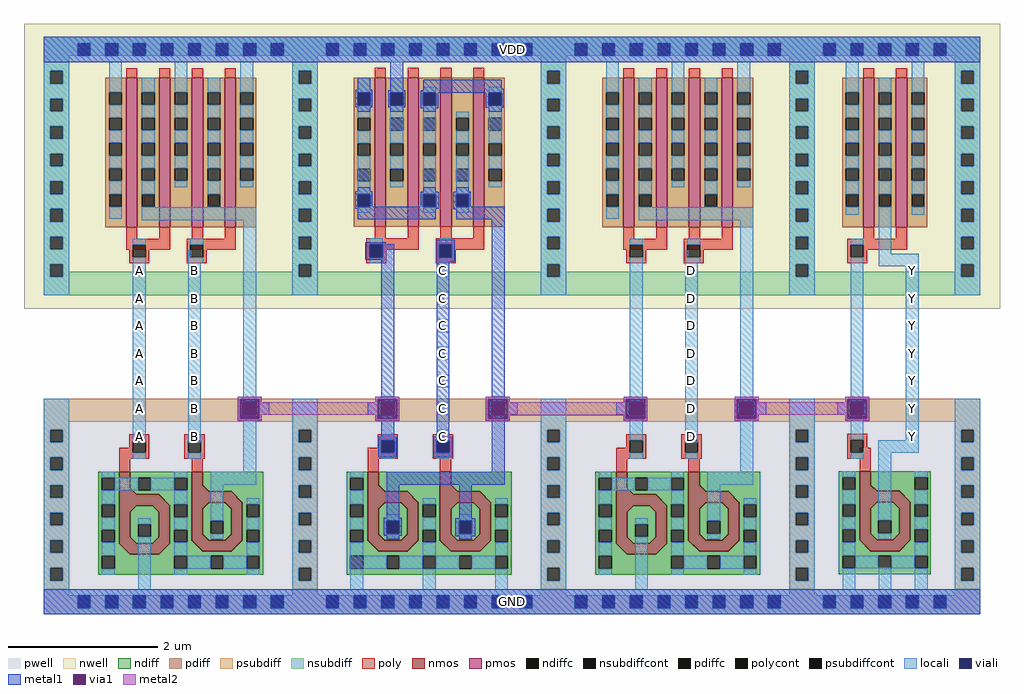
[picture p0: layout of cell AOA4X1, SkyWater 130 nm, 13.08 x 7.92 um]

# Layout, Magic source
magic
tech sky130A
magscale 1 2
<< nwell >>
rect 57 1463 91 1497
<< pwell >>
rect 57 -17 91 17
<< locali >>
rect 205 871 239 905
rect 353 871 387 905
rect 1019 871 1053 905
rect 1685 871 1719 905
rect 2277 871 2311 905
rect 205 797 239 831
rect 353 797 387 831
rect 1019 797 1053 831
rect 1685 797 1719 831
rect 2277 797 2311 831
rect 205 723 239 757
rect 353 723 387 757
rect 1019 723 1053 757
rect 1685 723 1719 757
rect 2277 723 2311 757
rect 205 649 239 683
rect 353 649 387 683
rect 1019 649 1053 683
rect 1685 649 1719 683
rect 2277 649 2311 683
rect 205 575 239 609
rect 353 575 387 609
rect 1019 575 1053 609
rect 1685 575 1719 609
rect 2277 575 2311 609
rect 205 501 239 535
rect 353 501 387 535
rect 1019 501 1053 535
rect 1685 501 1719 535
rect 2277 501 2311 535
rect 205 427 239 461
rect 353 427 387 461
rect 1019 427 1053 461
rect 1685 427 1719 461
rect 2277 427 2311 461
<< metal1 >>
rect -34 1446 2476 1514
rect -34 -34 2476 34
use aoa4x1_pcell  aoa4x1_pcell_0 pcells
transform 1 0 0 0 1 0
box -87 -34 2529 1550
<< labels >>
rlabel locali 2277 575 2311 609 1 Y
port 1 nsew signal output
rlabel locali 2277 501 2311 535 1 Y
port 1 nsew signal output
rlabel locali 2277 427 2311 461 1 Y
port 1 nsew signal output
rlabel locali 2277 649 2311 683 1 Y
port 1 nsew signal output
rlabel locali 2277 723 2311 757 1 Y
port 1 nsew signal output
rlabel locali 2277 797 2311 831 1 Y
port 1 nsew signal output
rlabel locali 2277 871 2311 905 1 Y
port 1 nsew signal output
rlabel locali 205 575 239 609 1 A
port 2 nsew signal input
rlabel locali 205 501 239 535 1 A
port 2 nsew signal input
rlabel locali 205 427 239 461 1 A
port 2 nsew signal input
rlabel locali 205 649 239 683 1 A
port 2 nsew signal input
rlabel locali 205 723 239 757 1 A
port 2 nsew signal input
rlabel locali 205 797 239 831 1 A
port 2 nsew signal input
rlabel locali 205 871 239 905 1 A
port 2 nsew signal input
rlabel locali 353 649 387 683 1 B
port 3 nsew signal input
rlabel locali 353 723 387 757 1 B
port 3 nsew signal input
rlabel locali 353 871 387 905 1 B
port 3 nsew signal input
rlabel locali 353 797 387 831 1 B
port 3 nsew signal input
rlabel locali 353 575 387 609 1 B
port 3 nsew signal input
rlabel locali 353 501 387 535 1 B
port 3 nsew signal input
rlabel locali 353 427 387 461 1 B
port 3 nsew signal input
rlabel locali 1019 723 1053 757 1 C
port 4 nsew signal input
rlabel locali 1019 797 1053 831 1 C
port 4 nsew signal input
rlabel locali 1019 871 1053 905 1 C
port 4 nsew signal input
rlabel locali 1019 649 1053 683 1 C
port 4 nsew signal input
rlabel locali 1019 575 1053 609 1 C
port 4 nsew signal input
rlabel locali 1019 501 1053 535 1 C
port 4 nsew signal input
rlabel locali 1019 427 1053 461 1 C
port 4 nsew signal input
rlabel locali 1685 797 1719 831 1 D
port 5 nsew signal input
rlabel locali 1685 723 1719 757 1 D
port 5 nsew signal input
rlabel locali 1685 649 1719 683 1 D
port 5 nsew signal input
rlabel locali 1685 575 1719 609 1 D
port 5 nsew signal input
rlabel locali 1685 501 1719 535 1 D
port 5 nsew signal input
rlabel locali 1685 427 1719 461 1 D
port 5 nsew signal input
rlabel locali 1685 871 1719 905 1 D
port 5 nsew signal input
rlabel metal1 -34 1446 2476 1514 1 VDD
port 6 nsew power bidirectional abutment
rlabel metal1 -34 -34 2476 34 1 GND
port 7 nsew ground bidirectional abutment


<< properties >>
string LEFclass CORE
string LEFsite unitrh
string FIXED_BBOX 0 0 2442 1480
string LEFsymmetry X Y R90
<< end >>

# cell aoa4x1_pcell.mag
magic
tech sky130A
magscale 1 2
<< metal1 >>
rect 1818 543 1882 549
rect 1818 491 1824 543
rect 1876 491 1882 543
rect 1818 485 1882 491
rect 2114 543 2178 549
rect 2114 491 2120 543
rect 2172 491 2178 543
rect 2114 485 2178 491
<< via1 >>
rect 1824 491 1876 543
rect 2120 491 2172 543
<< metal2 >>
rect 1818 543 1882 549
rect 1818 491 1824 543
rect 1876 535 1882 543
rect 2114 543 2178 549
rect 2114 535 2120 543
rect 1876 501 2120 535
rect 1876 491 1882 501
rect 1818 485 1882 491
rect 2114 491 2120 501
rect 2172 491 2178 543
rect 2114 485 2178 491
use aoai4x1_pcell  aoai4x1_pcell_0
transform 1 0 0 0 1 0
box -87 -34 2085 1550
use invx1_pcell  invx1_pcell_0
transform 1 0 1998 0 1 0
box -87 -34 531 1550
use li1_M1_contact  li1_M1_contact_2
transform -1 0 1850 0 -1 518
box -53 -33 29 33
use li1_M1_contact  li1_M1_contact_3
transform 1 0 2146 0 1 518
box -53 -33 29 33
<< end >>

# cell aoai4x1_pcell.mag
magic
tech sky130A
magscale 1 2
<< metal1 >>
rect 486 543 550 549
rect 486 491 492 543
rect 544 491 550 543
rect 486 485 550 491
rect 855 543 919 549
rect 855 491 861 543
rect 913 491 919 543
rect 855 485 919 491
rect 1151 543 1215 549
rect 1151 491 1157 543
rect 1209 491 1215 543
rect 1151 485 1215 491
rect 1520 543 1584 549
rect 1520 491 1526 543
rect 1578 491 1584 543
rect 1520 485 1584 491
<< via1 >>
rect 492 491 544 543
rect 861 491 913 543
rect 1157 491 1209 543
rect 1526 491 1578 543
<< metal2 >>
rect 486 543 550 549
rect 486 491 492 543
rect 544 535 550 543
rect 855 543 919 549
rect 855 535 861 543
rect 544 501 861 535
rect 544 491 550 501
rect 486 485 550 491
rect 855 491 861 501
rect 913 491 919 543
rect 855 485 919 491
rect 1151 543 1215 549
rect 1151 491 1157 543
rect 1209 535 1215 543
rect 1520 543 1584 549
rect 1520 535 1526 543
rect 1209 500 1526 535
rect 1209 491 1215 500
rect 1151 485 1215 491
rect 1520 491 1526 500
rect 1578 491 1584 543
rect 1520 485 1584 491
use li1_M1_contact  li1_M1_contact_0
transform -1 0 518 0 -1 518
box -53 -33 29 33
use li1_M1_contact  li1_M1_contact_1
transform 1 0 888 0 1 518
box -53 -33 29 33
use li1_M1_contact  li1_M1_contact_2
transform -1 0 1184 0 -1 518
box -53 -33 29 33
use li1_M1_contact  li1_M1_contact_3
transform 1 0 1554 0 1 518
box -53 -33 29 33
use nand2x1_pcell  nand2x1_pcell_0
transform 1 0 0 0 1 0
box -87 -34 753 1550
use nand2x1_pcell  nand2x1_pcell_1
transform 1 0 1332 0 1 0
box -87 -34 753 1550
use nor2x1_pcell  nor2x1_pcell_0
transform 1 0 666 0 1 0
box -87 -34 753 1550
<< end >>

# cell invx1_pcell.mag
magic
tech sky130A
magscale 1 2
<< nwell >>
rect -87 786 531 1550
<< pwell >>
rect -34 -34 478 544
<< pdiffc >>
rect 118 1059 152 1093
rect 206 1059 240 1093
rect 294 1059 328 1093
<< psubdiff >>
rect 34 482 410 544
rect 34 -17 57 17
rect 91 -17 131 17
rect 165 -17 205 17
rect 239 -17 279 17
rect 313 -17 353 17
rect 387 -17 410 17
rect 34 -34 410 -17
<< nsubdiff >>
rect 34 1497 410 1514
rect 34 1463 57 1497
rect 91 1463 131 1497
rect 165 1463 205 1497
rect 239 1463 279 1497
rect 313 1463 353 1497
rect 387 1463 410 1497
rect 34 822 410 884
<< psubdiffcont >>
rect 57 -17 91 17
rect 131 -17 165 17
rect 205 -17 239 17
rect 279 -17 313 17
rect 353 -17 387 17
<< nsubdiffcont >>
rect 57 1463 91 1497
rect 131 1463 165 1497
rect 205 1463 239 1497
rect 279 1463 313 1497
rect 353 1463 387 1497
<< poly >>
rect 155 381 185 413
<< locali >>
rect 34 1497 410 1514
rect 34 1463 57 1497
rect 91 1463 131 1497
rect 165 1463 205 1497
rect 239 1463 279 1497
rect 313 1463 353 1497
rect 387 1463 410 1497
rect 34 1446 410 1463
rect 118 1093 152 1111
rect 118 1037 152 1059
rect 206 1093 240 1111
rect 206 933 240 1059
rect 294 1093 328 1111
rect 294 1037 328 1059
rect 131 449 165 908
rect 206 899 313 933
rect 279 433 313 899
rect 205 399 313 433
rect 205 233 239 399
rect 109 34 143 90
rect 206 34 240 91
rect 303 34 337 90
rect 34 17 410 34
rect 34 -17 57 17
rect 91 -17 131 17
rect 165 -17 205 17
rect 239 -17 279 17
rect 313 -17 353 17
rect 387 -17 410 17
rect 34 -34 410 -17
<< viali >>
rect 57 1463 91 1497
rect 131 1463 165 1497
rect 205 1463 239 1497
rect 279 1463 313 1497
rect 353 1463 387 1497
rect 57 -17 91 17
rect 131 -17 165 17
rect 205 -17 239 17
rect 279 -17 313 17
rect 353 -17 387 17
<< metal1 >>
rect 34 1497 410 1514
rect 34 1463 57 1497
rect 91 1463 131 1497
rect 165 1463 205 1497
rect 239 1463 279 1497
rect 313 1463 353 1497
rect 387 1463 410 1497
rect 34 1446 410 1463
rect 34 17 410 34
rect 34 -17 57 17
rect 91 -17 131 17
rect 165 -17 205 17
rect 239 -17 279 17
rect 313 -17 353 17
rect 387 -17 410 17
rect 34 -34 410 -17
use poly_li1_contact  poly_li1_contact_1
transform 0 -1 147 1 0 416
box -32 -28 34 26
use nmos_top  nmos_top_0
transform -1 0 345 0 1 74
box 0 0 246 308
use pmos2  pmos2_0
transform 1 0 20 0 1 1404
box 52 -461 352 42
use poly_li1_contact  poly_li1_contact_0
transform 0 1 149 -1 0 941
box -32 -28 34 26
use diff_ring_side  diff_ring_side_0
transform 1 0 444 0 1 0
box -87 -34 87 1550
use diff_ring_side  diff_ring_side_1
transform 1 0 0 0 1 0
box -87 -34 87 1550
<< end >>

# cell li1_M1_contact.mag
magic
tech sky130A
magscale 1 2
<< locali >>
rect -17 17 17 33
rect -17 -33 17 -17
<< viali >>
rect -17 -17 17 17
<< metal1 >>
rect -23 17 23 23
rect -53 -17 -17 17
rect 17 -17 29 17
rect -23 -23 23 -17
<< end >>

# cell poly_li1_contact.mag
magic
tech sky130
<< poly >>
rect -16 8 17 13
rect -16 -9 -8 8
rect 9 -9 17 8
rect -16 -14 17 -9
<< polycont >>
rect -8 -9 9 8
<< locali >>
rect -16 -9 -8 8
rect 9 -9 17 8
<< end >>

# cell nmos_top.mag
magic
tech sky130
magscale 1 2
<< nmos >>
tri 144 223 160 239 se
rect 160 223 190 276
tri 54 193 84 223 se
rect 84 193 190 223
rect 54 92 84 193
tri 84 177 100 193 nw
tri 144 177 160 193 ne
tri 84 92 100 108 sw
tri 144 92 160 108 se
rect 160 92 190 193
tri 54 62 84 92 ne
rect 84 62 160 92
tri 160 62 190 92 nw
<< ndiff >>
rect 0 260 160 276
rect 0 226 8 260
rect 42 239 160 260
rect 42 226 144 239
rect 0 223 144 226
tri 144 223 160 239 nw
rect 190 260 246 276
rect 190 226 202 260
rect 236 226 246 260
rect 0 188 54 223
tri 54 193 84 223 nw
rect 0 154 8 188
rect 42 154 54 188
rect 0 120 54 154
rect 0 86 8 120
rect 42 86 54 120
tri 84 177 100 193 se
rect 100 177 144 193
tri 144 177 160 193 sw
rect 84 144 160 177
rect 84 110 106 144
rect 140 110 160 144
rect 84 108 160 110
tri 84 92 100 108 ne
rect 100 92 144 108
tri 144 92 160 108 nw
rect 190 188 246 226
rect 190 154 202 188
rect 236 154 246 188
rect 190 120 246 154
rect 0 62 54 86
tri 54 62 84 92 sw
tri 160 62 190 92 se
rect 190 86 202 120
rect 236 86 246 120
rect 190 62 246 86
rect 0 50 246 62
rect 0 16 8 50
rect 42 16 106 50
rect 140 16 202 50
rect 236 16 246 50
rect 0 0 246 16
<< ndiffc >>
rect 8 226 42 260
rect 202 226 236 260
rect 8 154 42 188
rect 8 86 42 120
rect 106 110 140 144
rect 202 154 236 188
rect 202 86 236 120
rect 8 16 42 50
rect 106 16 140 50
rect 202 16 236 50
<< poly >>
rect 160 276 190 308
<< locali >>
rect 8 260 42 276
rect 8 188 42 226
rect 202 260 236 276
rect 202 188 236 226
rect 8 120 42 154
rect 106 144 140 161
rect 106 94 140 110
rect 202 120 236 154
rect 8 50 42 86
rect 202 50 236 86
rect 42 16 106 50
rect 140 16 202 50
rect 8 0 42 16
rect 202 0 236 16
<< end >>

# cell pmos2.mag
magic
tech sky130A
magscale 1 2
<< nwell >>
rect 52 -436 352 36
<< pmos >>
rect 144 -400 174 0
rect 232 -400 262 0
<< pdiff >>
rect 88 -38 144 0
rect 88 -72 98 -38
rect 132 -72 144 -38
rect 88 -106 144 -72
rect 88 -140 98 -106
rect 132 -140 144 -106
rect 88 -174 144 -140
rect 88 -208 98 -174
rect 132 -208 144 -174
rect 88 -242 144 -208
rect 88 -276 98 -242
rect 132 -276 144 -242
rect 88 -400 144 -276
rect 174 -38 232 0
rect 174 -72 186 -38
rect 220 -72 232 -38
rect 174 -106 232 -72
rect 174 -140 186 -106
rect 220 -140 232 -106
rect 174 -174 232 -140
rect 174 -208 186 -174
rect 220 -208 232 -174
rect 174 -242 232 -208
rect 174 -276 186 -242
rect 220 -276 232 -242
rect 174 -400 232 -276
rect 262 -38 316 0
rect 262 -72 274 -38
rect 308 -72 316 -38
rect 262 -106 316 -72
rect 262 -140 274 -106
rect 308 -140 316 -106
rect 262 -174 316 -140
rect 262 -208 274 -174
rect 308 -208 316 -174
rect 262 -242 316 -208
rect 262 -276 274 -242
rect 308 -276 316 -242
rect 262 -400 316 -276
<< pdiffc >>
rect 98 -72 132 -38
rect 98 -140 132 -106
rect 98 -208 132 -174
rect 98 -276 132 -242
rect 186 -72 220 -38
rect 186 -140 220 -106
rect 186 -208 220 -174
rect 186 -276 220 -242
rect 274 -72 308 -38
rect 274 -140 308 -106
rect 274 -208 308 -174
rect 274 -276 308 -242
<< poly >>
rect 144 0 174 26
rect 232 0 262 26
rect 144 -431 174 -400
rect 232 -431 262 -400
rect 144 -461 262 -431
<< locali >>
rect 98 -38 132 42
rect 98 -106 132 -72
rect 98 -174 132 -140
rect 98 -242 132 -208
rect 98 -293 132 -276
rect 186 -38 220 0
rect 186 -106 220 -72
rect 186 -174 220 -140
rect 186 -242 220 -208
rect 186 -293 220 -276
rect 274 -38 308 42
rect 274 -106 308 -72
rect 274 -174 308 -140
rect 274 -242 308 -208
rect 274 -293 308 -276
<< end >>

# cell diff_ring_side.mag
magic
tech sky130A
magscale 1 2
<< nwell >>
rect -87 786 87 1550
<< pwell >>
rect -34 -34 34 544
<< psubdiff >>
rect -34 461 34 544
rect -34 427 -17 461
rect 17 427 34 461
rect -34 387 34 427
rect -34 353 -17 387
rect 17 353 34 387
rect -34 313 34 353
rect -34 279 -17 313
rect 17 279 34 313
rect -34 239 34 279
rect -34 205 -17 239
rect 17 205 34 239
rect -34 165 34 205
rect -34 131 -17 165
rect 17 131 34 165
rect -34 91 34 131
rect -34 57 -17 91
rect 17 57 34 91
rect -34 -34 34 57
<< nsubdiff >>
rect -34 1423 34 1514
rect -34 1389 -17 1423
rect 17 1389 34 1423
rect -34 1349 34 1389
rect -34 1315 -17 1349
rect 17 1315 34 1349
rect -34 1275 34 1315
rect -34 1241 -17 1275
rect 17 1241 34 1275
rect -34 1201 34 1241
rect -34 1167 -17 1201
rect 17 1167 34 1201
rect -34 1127 34 1167
rect -34 1093 -17 1127
rect 17 1093 34 1127
rect -34 1053 34 1093
rect -34 1019 -17 1053
rect 17 1019 34 1053
rect -34 979 34 1019
rect -34 945 -17 979
rect 17 945 34 979
rect -34 905 34 945
rect -34 871 -17 905
rect 17 871 34 905
rect -34 822 34 871
<< psubdiffcont >>
rect -17 427 17 461
rect -17 353 17 387
rect -17 279 17 313
rect -17 205 17 239
rect -17 131 17 165
rect -17 57 17 91
<< nsubdiffcont >>
rect -17 1389 17 1423
rect -17 1315 17 1349
rect -17 1241 17 1275
rect -17 1167 17 1201
rect -17 1093 17 1127
rect -17 1019 17 1053
rect -17 945 17 979
rect -17 871 17 905
<< locali >>
rect -34 1423 34 1514
rect -34 1389 -17 1423
rect 17 1389 34 1423
rect -34 1349 34 1389
rect -34 1315 -17 1349
rect 17 1315 34 1349
rect -34 1275 34 1315
rect -34 1241 -17 1275
rect 17 1241 34 1275
rect -34 1201 34 1241
rect -34 1167 -17 1201
rect 17 1167 34 1201
rect -34 1127 34 1167
rect -34 1093 -17 1127
rect 17 1093 34 1127
rect -34 1053 34 1093
rect -34 1019 -17 1053
rect 17 1019 34 1053
rect -34 979 34 1019
rect -34 945 -17 979
rect 17 945 34 979
rect -34 905 34 945
rect -34 871 -17 905
rect 17 871 34 905
rect -34 822 34 871
rect -34 461 34 544
rect -34 427 -17 461
rect 17 427 34 461
rect -34 387 34 427
rect -34 353 -17 387
rect 17 353 34 387
rect -34 313 34 353
rect -34 279 -17 313
rect 17 279 34 313
rect -34 239 34 279
rect -34 205 -17 239
rect 17 205 34 239
rect -34 165 34 205
rect -34 131 -17 165
rect 17 131 34 165
rect -34 91 34 131
rect -34 57 -17 91
rect 17 57 34 91
rect -34 -34 34 57
<< metal1 >>
rect -34 1446 34 1514
rect -34 -34 34 34
<< end >>

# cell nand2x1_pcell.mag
magic
tech sky130A
magscale 1 2
<< nwell >>
rect 87 786 579 1550
<< pwell >>
rect 34 542 632 544
rect -31 -30 697 542
rect 34 -34 632 -30
<< pdiffc >>
rect 141 1059 175 1093
rect 229 1059 263 1093
rect 405 1059 439 1093
<< psubdiff >>
rect 34 542 632 544
rect 31 482 635 542
rect 31 480 34 482
rect 632 480 635 482
rect 31 -17 57 17
rect 91 -17 131 17
rect 165 -17 205 17
rect 239 -17 279 17
rect 313 -17 353 17
rect 387 -17 427 17
rect 461 -17 501 17
rect 535 -17 575 17
rect 609 -17 635 17
rect 31 -30 635 -17
rect 34 -34 632 -30
<< nsubdiff >>
rect 34 1497 632 1514
rect 34 1463 57 1497
rect 91 1463 131 1497
rect 165 1463 205 1497
rect 239 1463 279 1497
rect 313 1463 353 1497
rect 387 1463 427 1497
rect 461 1463 501 1497
rect 535 1463 575 1497
rect 609 1463 632 1497
rect 34 822 632 884
<< psubdiffcont >>
rect 57 -17 91 17
rect 131 -17 165 17
rect 205 -17 239 17
rect 279 -17 313 17
rect 353 -17 387 17
rect 427 -17 461 17
rect 501 -17 535 17
rect 575 -17 609 17
<< nsubdiffcont >>
rect 57 1463 91 1497
rect 131 1463 165 1497
rect 205 1463 239 1497
rect 279 1463 313 1497
rect 353 1463 387 1497
rect 427 1463 461 1497
rect 501 1463 535 1497
rect 575 1463 609 1497
<< poly >>
rect 168 375 198 413
rect 362 382 392 383
<< locali >>
rect 34 1497 632 1514
rect 34 1463 57 1497
rect 91 1463 131 1497
rect 165 1463 205 1497
rect 239 1463 279 1497
rect 313 1463 353 1497
rect 387 1463 427 1497
rect 461 1463 501 1497
rect 535 1463 575 1497
rect 609 1463 632 1497
rect 34 1446 632 1463
rect 141 1093 175 1111
rect 141 1027 175 1059
rect 229 1093 263 1111
rect 229 1057 263 1059
rect 405 1093 439 1111
rect 405 1057 439 1059
rect 229 1023 535 1057
rect 353 908 361 942
rect 205 433 239 908
rect 353 441 387 908
rect 353 433 357 441
rect 501 348 535 1023
rect 413 314 535 348
rect 413 233 447 314
rect 219 34 253 167
rect 34 32 632 34
rect 31 17 635 32
rect 31 -17 57 17
rect 91 -17 131 17
rect 165 -17 205 17
rect 239 -17 279 17
rect 313 -17 353 17
rect 387 -17 427 17
rect 461 -17 501 17
rect 535 -17 575 17
rect 609 -17 635 17
rect 31 -30 635 -17
rect 34 -34 632 -30
<< viali >>
rect 57 1463 91 1497
rect 131 1463 165 1497
rect 205 1463 239 1497
rect 279 1463 313 1497
rect 353 1463 387 1497
rect 427 1463 461 1497
rect 501 1463 535 1497
rect 575 1463 609 1497
rect 57 -17 91 17
rect 131 -17 165 17
rect 205 -17 239 17
rect 279 -17 313 17
rect 353 -17 387 17
rect 427 -17 461 17
rect 501 -17 535 17
rect 575 -17 609 17
<< metal1 >>
rect 34 1497 632 1514
rect 34 1463 57 1497
rect 91 1463 131 1497
rect 165 1463 205 1497
rect 239 1463 279 1497
rect 313 1463 353 1497
rect 387 1463 427 1497
rect 461 1463 501 1497
rect 535 1463 575 1497
rect 609 1463 632 1497
rect 34 1446 632 1463
rect 34 32 632 34
rect 31 17 635 32
rect 31 -17 57 17
rect 91 -17 131 17
rect 165 -17 205 17
rect 239 -17 279 17
rect 313 -17 353 17
rect 387 -17 427 17
rect 461 -17 501 17
rect 535 -17 575 17
rect 609 -17 635 17
rect 31 -30 635 -17
rect 34 -34 632 -30
use poly_li1_contact  poly_li1_contact_1
transform 0 1 223 -1 0 417
box -32 -28 34 26
use nmos_bottom  nmos_bottom_0
transform -1 0 360 0 1 73
box 0 0 248 302
use poly_li1_contact  poly_li1_contact_0
transform 0 1 223 -1 0 941
box -32 -28 34 26
use pmos2  pmos2_0
transform 1 0 43 0 1 1404
box 52 -461 352 42
use poly_li1_contact  poly_li1_contact_2
transform 0 -1 369 1 0 415
box -32 -28 34 26
use nmos_top_trim1  nmos_top_trim1_0
transform -1 0 554 0 1 73
box 0 0 248 309
use poly_li1_contact  poly_li1_contact_3
transform 0 1 377 -1 0 941
box -32 -28 34 26
use pmos2  pmos2_1
transform 1 0 219 0 1 1404
box 52 -461 352 42
use diff_ring_side  diff_ring_side_0
transform 1 0 666 0 1 0
box -87 -34 87 1550
use diff_ring_side  diff_ring_side_1
transform 1 0 0 0 1 0
box -87 -34 87 1550
<< end >>

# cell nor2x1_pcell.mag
magic
tech sky130A
magscale 1 2
<< nwell >>
rect 87 786 579 1550
<< pwell >>
rect 34 -34 632 544
<< pdiff >>
rect 141 1043 175 1059
rect 317 1043 351 1050
rect 405 1043 439 1050
<< pdiffc >>
rect 141 1331 175 1365
rect 229 1331 263 1365
rect 317 1331 351 1365
rect 493 1331 527 1365
rect 141 1059 175 1093
rect 317 1059 351 1093
rect 405 1059 439 1093
<< psubdiff >>
rect 34 482 632 544
rect 34 -17 57 17
rect 91 -17 131 17
rect 165 -17 205 17
rect 239 -17 279 17
rect 313 -17 353 17
rect 387 -17 427 17
rect 461 -17 501 17
rect 535 -17 575 17
rect 609 -17 632 17
rect 34 -34 632 -17
<< nsubdiff >>
rect 34 1497 632 1514
rect 34 1463 57 1497
rect 91 1463 131 1497
rect 165 1463 205 1497
rect 239 1463 279 1497
rect 313 1463 353 1497
rect 387 1463 427 1497
rect 461 1463 501 1497
rect 535 1463 575 1497
rect 609 1463 632 1497
rect 34 822 632 884
<< psubdiffcont >>
rect 57 -17 91 17
rect 131 -17 165 17
rect 205 -17 239 17
rect 279 -17 313 17
rect 353 -17 387 17
rect 427 -17 461 17
rect 501 -17 535 17
rect 575 -17 609 17
<< nsubdiffcont >>
rect 57 1463 91 1497
rect 131 1463 165 1497
rect 205 1463 239 1497
rect 279 1463 313 1497
rect 353 1463 387 1497
rect 427 1463 461 1497
rect 501 1463 535 1497
rect 575 1463 609 1497
<< poly >>
rect 168 375 198 413
rect 362 382 392 383
<< locali >>
rect -34 1497 667 1514
rect -34 1463 57 1497
rect 91 1463 131 1497
rect 165 1463 205 1497
rect 239 1463 279 1497
rect 313 1463 353 1497
rect 387 1463 427 1497
rect 461 1463 501 1497
rect 535 1463 575 1497
rect 609 1463 667 1497
rect -34 1446 667 1463
rect 141 1365 175 1405
rect 141 1312 175 1331
rect 229 1365 263 1405
rect 229 1229 263 1331
rect 317 1365 351 1381
rect 317 1229 351 1331
rect 493 1365 527 1381
rect 493 1229 527 1331
rect 141 1093 175 1195
rect 141 1043 175 1059
rect 317 1093 351 1195
rect 317 1043 351 1059
rect 405 1093 439 1195
rect 405 1043 439 1059
rect 122 34 156 157
rect 316 34 350 89
rect 510 34 544 89
rect 33 17 657 34
rect 33 -17 57 17
rect 91 -17 131 17
rect 165 -17 205 17
rect 239 -17 279 17
rect 313 -17 353 17
rect 387 -17 427 17
rect 461 -17 501 17
rect 535 -17 575 17
rect 609 -17 657 17
rect 33 -34 657 -17
<< viali >>
rect 57 1463 91 1497
rect 131 1463 165 1497
rect 205 1463 239 1497
rect 279 1463 313 1497
rect 353 1463 387 1497
rect 427 1463 461 1497
rect 501 1463 535 1497
rect 575 1463 609 1497
rect 141 1331 175 1365
rect 229 1331 263 1365
rect 317 1331 351 1365
rect 493 1331 527 1365
rect 141 1059 175 1093
rect 317 1059 351 1093
rect 405 1059 439 1093
rect 174 924 208 958
rect 360 924 394 958
rect 205 399 239 433
rect 353 399 387 433
rect 219 183 253 217
rect 413 183 447 217
rect 57 -17 91 17
rect 131 -17 165 17
rect 205 -17 239 17
rect 279 -17 313 17
rect 353 -17 387 17
rect 427 -17 461 17
rect 501 -17 535 17
rect 575 -17 609 17
<< metal1 >>
rect 34 1497 632 1514
rect 34 1463 57 1497
rect 91 1463 131 1497
rect 165 1463 205 1497
rect 239 1463 279 1497
rect 313 1463 353 1497
rect 387 1463 427 1497
rect 461 1463 501 1497
rect 535 1463 575 1497
rect 609 1463 632 1497
rect 34 1446 632 1463
rect 141 1372 175 1405
rect 135 1365 181 1372
rect 229 1371 263 1446
rect 317 1375 527 1399
rect 317 1371 533 1375
rect 135 1331 141 1365
rect 175 1331 181 1365
rect 135 1325 181 1331
rect 223 1365 269 1371
rect 223 1331 229 1365
rect 263 1331 269 1365
rect 223 1325 269 1331
rect 311 1365 533 1371
rect 311 1331 317 1365
rect 351 1331 357 1365
rect 141 1313 175 1325
rect 229 1313 263 1325
rect 311 1323 357 1331
rect 484 1331 493 1365
rect 527 1331 533 1365
rect 484 1324 533 1331
rect 317 1313 351 1323
rect 493 1313 527 1324
rect 141 1100 175 1111
rect 135 1093 181 1100
rect 317 1099 351 1111
rect 405 1099 439 1111
rect 135 1059 141 1093
rect 175 1059 181 1093
rect 310 1093 358 1099
rect 310 1059 317 1093
rect 351 1059 358 1093
rect 135 1053 358 1059
rect 397 1093 445 1099
rect 397 1059 405 1093
rect 439 1059 445 1093
rect 141 1025 351 1053
rect 397 1052 535 1059
rect 405 1025 535 1052
rect 162 958 217 964
rect 353 958 401 971
rect 162 924 174 958
rect 208 924 239 958
rect 162 917 239 924
rect 205 443 239 917
rect 353 924 360 958
rect 394 924 401 958
rect 353 912 401 924
rect 353 443 387 912
rect 197 433 246 443
rect 197 399 205 433
rect 239 399 246 433
rect 197 387 246 399
rect 344 433 395 443
rect 344 399 353 433
rect 387 399 395 433
rect 344 387 395 399
rect 501 348 535 1025
rect 219 314 535 348
rect 219 225 253 314
rect 211 217 260 225
rect 413 224 447 314
rect 211 183 219 217
rect 253 183 260 217
rect 211 177 260 183
rect 403 217 456 224
rect 403 183 413 217
rect 447 183 456 217
rect 219 167 253 177
rect 403 176 456 183
rect 413 167 447 176
rect 34 17 632 34
rect 34 -17 57 17
rect 91 -17 131 17
rect 165 -17 205 17
rect 239 -17 279 17
rect 313 -17 353 17
rect 387 -17 427 17
rect 461 -17 501 17
rect 535 -17 575 17
rect 609 -17 632 17
rect 34 -34 632 -17
use diff_ring_side  diff_ring_side_0
transform 1 0 666 0 1 0
box -87 -34 87 1550
use diff_ring_side  diff_ring_side_1
transform 1 0 0 0 1 0
box -87 -34 87 1550
use nmos_top_trim1  nmos_top_trim1_1
transform -1 0 360 0 1 73
box 0 0 248 309
use nmos_top_trim2  nmos_top_trim2_0
transform -1 0 554 0 1 73
box 0 0 248 309
use pmos2_1  pmos2_1_0
transform 1 0 43 0 1 1404
box 52 -460 352 37
use pmos2_1  pmos2_1_1
transform 1 0 219 0 1 1404
box 52 -460 352 37
use poly_li1_contact  poly_li1_contact_0
transform 0 1 192 -1 0 942
box -32 -28 34 26
use poly_li1_contact  poly_li1_contact_1
transform 0 1 223 -1 0 417
box -32 -28 34 26
use poly_li1_contact  poly_li1_contact_2
transform 0 -1 369 1 0 415
box -32 -28 34 26
use poly_li1_contact  poly_li1_contact_3
transform 0 1 378 -1 0 942
box -32 -28 34 26
<< end >>

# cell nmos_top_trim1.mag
magic
tech sky130
magscale 1 2
<< nmos >>
tri 146 223 162 239 se
rect 162 223 192 276
tri 56 193 86 223 se
rect 86 193 192 223
rect 56 92 86 193
tri 86 177 102 193 nw
tri 146 177 162 193 ne
tri 86 92 102 108 sw
tri 146 92 162 108 se
rect 162 92 192 193
tri 56 62 86 92 ne
rect 86 62 162 92
tri 162 62 192 92 nw
<< ndiff >>
rect 0 239 162 276
rect 0 223 146 239
tri 146 223 162 239 nw
rect 192 260 248 276
rect 192 226 204 260
rect 238 226 248 260
rect 0 188 56 223
tri 56 193 86 223 nw
rect 0 154 10 188
rect 44 154 56 188
rect 0 120 56 154
rect 0 86 10 120
rect 44 86 56 120
tri 86 177 102 193 se
rect 102 177 146 193
tri 146 177 162 193 sw
rect 86 144 162 177
rect 86 110 107 144
rect 141 110 162 144
rect 86 108 162 110
tri 86 92 102 108 ne
rect 102 92 146 108
tri 146 92 162 108 nw
rect 192 188 248 226
rect 192 154 204 188
rect 238 154 248 188
rect 192 120 248 154
rect 0 62 56 86
tri 56 62 86 92 sw
tri 162 62 192 92 se
rect 192 86 204 120
rect 238 86 248 120
rect 192 62 248 86
rect 0 50 248 62
rect 0 16 10 50
rect 44 16 107 50
rect 141 16 204 50
rect 238 16 248 50
rect 0 0 248 16
<< ndiffc >>
rect 204 226 238 260
rect 10 154 44 188
rect 10 86 44 120
rect 107 110 141 144
rect 204 154 238 188
rect 204 86 238 120
rect 10 16 44 50
rect 107 16 141 50
rect 204 16 238 50
<< poly >>
rect 162 276 192 309
<< locali >>
rect 204 260 238 276
rect 10 188 44 204
rect 204 188 238 226
rect 10 120 44 154
rect 107 144 141 161
rect 107 94 141 110
rect 204 120 238 154
rect 10 50 44 86
rect 204 50 238 86
rect 44 16 107 50
rect 141 16 204 50
rect 10 0 44 16
rect 204 0 238 16
<< end >>

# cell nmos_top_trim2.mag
magic
tech sky130
magscale 1 2
<< nmos >>
tri 146 223 162 239 se
rect 162 223 192 276
tri 56 193 86 223 se
rect 86 193 192 223
rect 56 178 87 193
tri 87 178 102 193 nw
tri 146 178 161 193 ne
rect 161 178 192 193
rect 56 92 86 178
tri 86 92 102 108 sw
tri 146 92 162 108 se
rect 162 92 192 178
tri 56 62 86 92 ne
rect 86 62 162 92
tri 162 62 192 92 nw
<< ndiff >>
rect 0 239 162 276
rect 0 223 146 239
tri 146 223 162 239 nw
rect 0 188 56 223
tri 56 193 86 223 nw
rect 0 154 10 188
rect 44 154 56 188
tri 87 178 102 193 se
rect 102 178 146 193
tri 146 178 161 193 sw
rect 192 188 248 276
rect 0 120 56 154
rect 0 86 10 120
rect 44 86 56 120
rect 86 144 162 178
rect 86 110 107 144
rect 141 110 162 144
rect 86 108 162 110
tri 86 92 102 108 ne
rect 102 92 146 108
tri 146 92 162 108 nw
rect 192 154 204 188
rect 238 154 248 188
rect 192 120 248 154
rect 0 62 56 86
tri 56 62 86 92 sw
tri 162 62 192 92 se
rect 192 86 204 120
rect 238 86 248 120
rect 192 62 248 86
rect 0 50 248 62
rect 0 16 10 50
rect 44 16 107 50
rect 141 16 204 50
rect 238 16 248 50
rect 0 0 248 16
<< ndiffc >>
rect 10 154 44 188
rect 10 86 44 120
rect 107 110 141 144
rect 204 154 238 188
rect 204 86 238 120
rect 10 16 44 50
rect 107 16 141 50
rect 204 16 238 50
<< poly >>
rect 162 276 192 309
<< locali >>
rect 10 188 44 205
rect 204 188 238 205
rect 10 120 44 154
rect 107 144 141 161
rect 107 94 141 110
rect 204 120 238 154
rect 10 50 44 86
rect 204 50 238 86
rect 44 16 107 50
rect 141 16 204 50
rect 10 0 44 16
rect 204 0 238 16
<< end >>

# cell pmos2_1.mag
magic
tech sky130A
magscale 1 2
<< nwell >>
rect 52 -435 352 37
<< pmos >>
rect 144 -399 174 1
rect 232 -399 262 1
<< pdiff >>
rect 88 -107 144 1
rect 88 -141 98 -107
rect 132 -141 144 -107
rect 88 -175 144 -141
rect 88 -209 98 -175
rect 132 -209 144 -175
rect 88 -243 144 -209
rect 88 -277 98 -243
rect 132 -277 144 -243
rect 88 -399 144 -277
rect 174 -107 232 1
rect 174 -141 186 -107
rect 220 -141 232 -107
rect 174 -175 232 -141
rect 174 -209 186 -175
rect 220 -209 232 -175
rect 174 -243 232 -209
rect 174 -277 186 -243
rect 220 -277 232 -243
rect 174 -399 232 -277
rect 262 -107 316 1
rect 262 -141 274 -107
rect 308 -141 316 -107
rect 262 -175 316 -141
rect 262 -209 274 -175
rect 308 -209 316 -175
rect 262 -243 316 -209
rect 262 -277 274 -243
rect 308 -277 316 -243
rect 262 -399 316 -277
<< pdiffc >>
rect 98 -141 132 -107
rect 98 -209 132 -175
rect 98 -277 132 -243
rect 186 -141 220 -107
rect 186 -209 220 -175
rect 186 -277 220 -243
rect 274 -141 308 -107
rect 274 -209 308 -175
rect 274 -277 308 -243
<< poly >>
rect 144 1 174 27
rect 232 1 262 27
rect 144 -430 174 -399
rect 232 -430 262 -399
rect 144 -460 262 -430
<< locali >>
rect 98 -107 132 -91
rect 98 -175 132 -141
rect 98 -243 132 -209
rect 98 -293 132 -277
rect 186 -107 220 -91
rect 186 -175 220 -141
rect 186 -243 220 -209
rect 186 -293 220 -277
rect 274 -107 308 -91
rect 274 -175 308 -141
rect 274 -243 308 -209
rect 274 -293 308 -277
<< end >>

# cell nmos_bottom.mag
magic
tech sky130A
magscale 1 2
<< nmos >>
tri 146 215 162 231 se
rect 162 215 192 276
tri 56 185 86 215 se
rect 86 185 192 215
rect 56 84 86 185
tri 86 169 102 185 nw
tri 146 169 162 185 ne
tri 86 84 102 100 sw
tri 146 84 162 100 se
rect 162 84 192 185
tri 56 54 86 84 ne
rect 86 54 162 84
tri 162 54 192 84 nw
<< ndiff >>
rect 0 260 162 276
rect 0 226 10 260
rect 44 226 107 260
rect 141 231 162 260
rect 141 226 146 231
rect 0 215 146 226
tri 146 215 162 231 nw
rect 192 260 248 276
rect 192 226 204 260
rect 238 226 248 260
rect 0 188 56 215
rect 0 154 10 188
rect 44 154 56 188
tri 56 185 86 215 nw
rect 192 188 248 226
rect 0 120 56 154
rect 0 86 10 120
rect 44 86 56 120
rect 0 54 56 86
tri 86 169 102 185 se
rect 102 169 146 185
tri 146 169 162 185 sw
rect 86 135 162 169
rect 86 101 107 135
rect 141 101 162 135
rect 86 100 162 101
tri 86 84 102 100 ne
rect 102 84 146 100
tri 146 84 162 100 nw
rect 192 154 204 188
rect 238 154 248 188
rect 192 120 248 154
rect 192 86 204 120
rect 238 86 248 120
tri 56 54 86 84 sw
tri 162 54 192 84 se
rect 192 54 248 86
rect 0 50 248 54
rect 0 16 10 50
rect 44 16 204 50
rect 238 16 248 50
rect 0 0 248 16
<< ndiffc >>
rect 10 226 44 260
rect 107 226 141 260
rect 204 226 238 260
rect 10 154 44 188
rect 10 86 44 120
rect 107 101 141 135
rect 204 154 238 188
rect 204 86 238 120
rect 10 16 44 50
rect 204 16 238 50
<< poly >>
rect 162 276 192 302
<< locali >>
rect 10 260 44 276
rect 204 260 238 276
rect 44 226 107 260
rect 141 226 204 260
rect 10 188 44 226
rect 10 120 44 154
rect 204 188 238 226
rect 10 50 44 86
rect 107 135 141 151
rect 107 85 141 101
rect 204 120 238 154
rect 10 0 44 16
rect 204 50 238 86
rect 204 0 238 16
<< end >>
